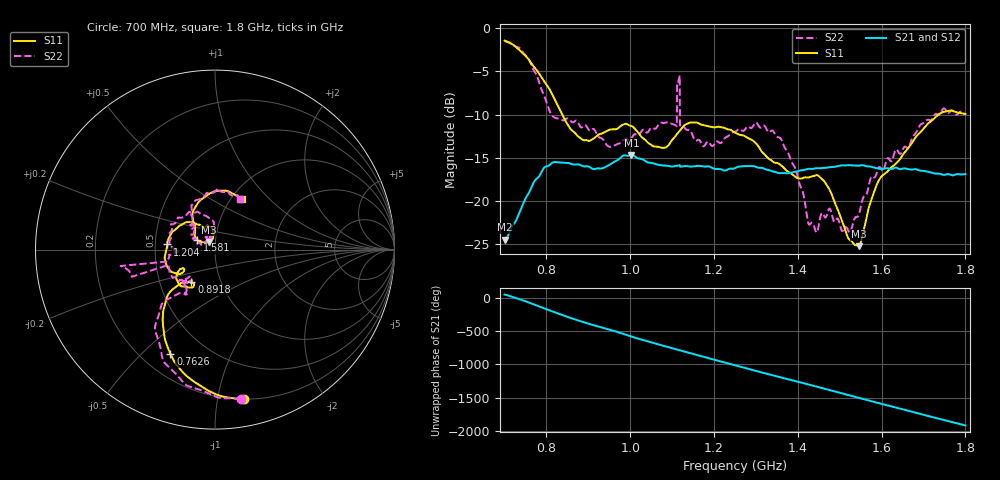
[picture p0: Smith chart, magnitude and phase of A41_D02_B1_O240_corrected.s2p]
! Created with skrf 1.9.0 (http://scikit-rf.org).
# Hz S RI R 50.0
!freq ReS11 ImS11 ReS21 ImS21 ReS12 ImS12 ReS22 ImS22
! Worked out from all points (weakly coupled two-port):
!   1601 points, 700 MHz to 1.8 GHz, reference 50 ohm
!   highest |S21| = -14.67 dB at 1.002 GHz (marker M1); lowest = -24.5 dB at 701.4 MHz (marker M2)
!   lowest |S11| = -25.3 dB at 1.545 GHz (marker M3), VSWR 1.12, Z = 46.5 + j3.98 ohm
!   |S11| at or under -10 dB: 837.6 MHz to 1.735 GHz (897.8 MHz wide, 69.8 % of centre)
!   |S22| runs from -23.7 to -1.5 dB; largest |S21 - S12| = 0.0034
!   S11 on the Smith chart (normalised r, x): 700 MHz: 0.20, -1.19; 762.6 MHz: 0.32, -0.61; 891.8 MHz: 0.72, -0.28; 1.204 GHz: 0.58, +0.04; 1.581 GHz: 0.82, +0.09; 1.8 GHz: 1.12, +0.70
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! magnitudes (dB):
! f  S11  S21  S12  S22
! 700 MHz  -1.4  -24.5  -24.3  -1.5
! 701.4 MHz  -1.4  -24.5  -24.1  -1.5
! 762.6 MHz  -4.0  -18.6  -18.6  -4.1
! 814.1 MHz  -7.7  -15.6  -15.6  -10.1
! 883.6 MHz  -12.8  -15.9  -15.8  -11.5
! 891.8 MHz  -13.0  -16.0  -16.0  -11.2
! 1.002 GHz  -11.3  -14.7  -14.8  -12.8
! 1.067 GHz  -13.7  -15.8  -15.8  -11.2
! 1.106 GHz  -12.6  -16.0  -15.9  -11.2
! 1.117 GHz  -11.9  -15.9  -15.8  -5.6
! 1.124 GHz  -11.5  -16.0  -16.0  -11.2
! 1.204 GHz  -11.5  -16.3  -16.3  -13.2
! 1.25 GHz  -12.1  -16.2  -16.1  -12.0
! 1.359 GHz  -15.8  -16.8  -16.8  -12.7
! 1.434 GHz  -17.2  -16.3  -16.3  -22.5
! 1.471 GHz  -18.4  -16.1  -16.1  -21.3
! 1.524 GHz  -24.5  -15.9  -15.9  -23.7
! 1.545 GHz  -25.3  -15.9  -15.9  -21.7
! 1.581 GHz  -19.1  -16.1  -16.1  -17.3
! 1.617 GHz  -16.4  -16.3  -16.2  -15.1
! 1.737 GHz  -10.0  -16.8  -16.9  -10.0
! 1.8 GHz  -9.9  -16.9  -16.9  -10.0
